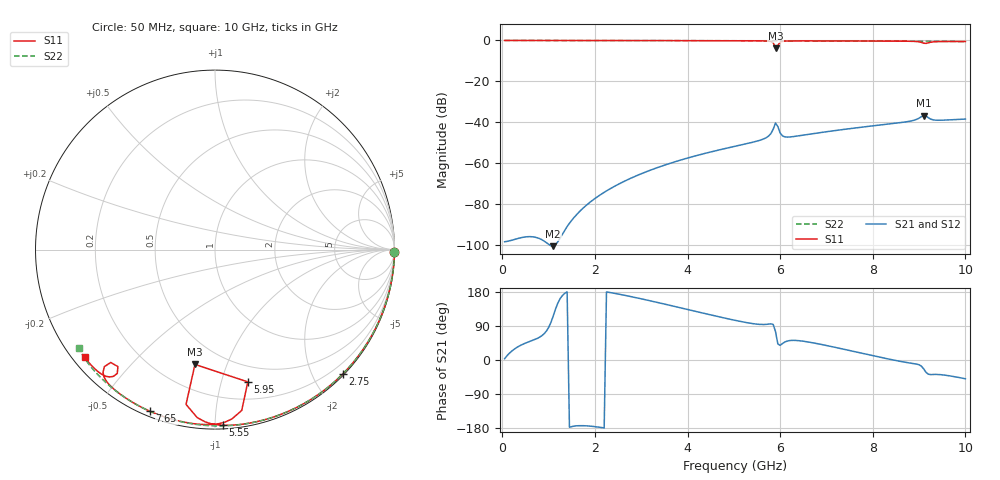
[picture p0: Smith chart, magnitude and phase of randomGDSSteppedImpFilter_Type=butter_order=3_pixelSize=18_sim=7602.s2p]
! freq	dB(S11)	phase(S11)	dB(S12)	phase(S12)
!  dB(S21)	phase(S21)	dB(S22)	phase(S22)
!S-par simulation data
#  GHz  S  DB  R 50
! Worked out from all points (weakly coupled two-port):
!   200 points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, 50 MHz to 10 GHz, reference 50 ohm
!   highest |S21| = -36.63 dB at 9.1 GHz (marker M1); lowest = -100.4 dB at 1.1 GHz (marker M2)
!   lowest |S11| = -3.7 dB at 5.9 GHz (marker M3), VSWR 4.71, Z = 17.6 - j38.9 ohm
!   |S11| at or under -10 dB: nowhere
!   |S22| runs from -0.6 to 0.0 dB; largest |S21 - S12| = 0
!   S11 on the Smith chart (normalised r, x): 50 MHz: open; 2.75 GHz: 0.02, -2.47; 5.55 GHz: 0.02, -1.05; 5.95 GHz: 0.35, -1.22; 7.65 GHz: 0.02, -0.68; 10 GHz: 0.03, -0.36
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0.05  -0.00 -0.8  -98.23 3.4  -98.23 3.4  -0.00 -0.8
1.1  -0.02 -18.0  -100.39 116.1  -100.39 116.1  -0.02 -17.8
1.75  -0.04 -28.4  -81.71 -173.4  -81.71 -173.4  -0.04 -28.1
1.85  -0.04 -30.0  -79.75 -174.0  -79.75 -174.0  -0.04 -29.7
2.75  -0.06 -44.1  -67.49 168.0  -67.49 168.0  -0.06 -43.6
3.4  -0.07 -54.1  -61.64 150.5  -61.64 150.5  -0.07 -53.4
5.05  -0.13 -78.8  -51.52 104.1  -51.52 104.1  -0.12 -77.2
5.55  -0.18 -87.3  -48.80 94.0  -48.80 94.0  -0.14 -84.1
5.8  -0.53 -96.0  -45.45 95.5  -45.45 95.5  -0.15 -87.5
5.85  -1.14 -100.6  -43.31 93.6  -43.31 93.6  -0.15 -88.2
5.9  -3.75 -99.9  -40.28 75.1  -40.28 75.1  -0.15 -88.9
5.95  -2.39 -76.1  -41.98 42.2  -41.98 42.2  -0.15 -89.6
6  -0.83 -80.6  -45.18 38.8  -45.18 38.8  -0.16 -90.2
6.1  -0.33 -86.7  -47.05 47.4  -47.05 47.4  -0.16 -91.6
6.7  -0.20 -98.7  -45.52 45.6  -45.52 45.6  -0.19 -99.5
7.65  -0.26 -111.9  -42.62 21.0  -42.62 21.0  -0.25 -111.8
8.35  -0.31 -121.3  -40.79 2.3  -40.79 2.3  -0.31 -120.8
8.85  -0.42 -129.0  -39.18 -8.9  -39.18 -8.9  -0.35 -127.2
9.1  -1.35 -132.7  -36.63 -23.5  -36.63 -23.5  -0.38 -130.5
9.2  -1.12 -128.3  -37.70 -37.5  -37.70 -37.5  -0.39 -131.9
9.35  -0.62 -130.7  -38.88 -38.1  -38.88 -38.1  -0.41 -133.9
10  -0.52 -140.4  -38.36 -49.5  -38.36 -49.5  -0.58 -144.3
